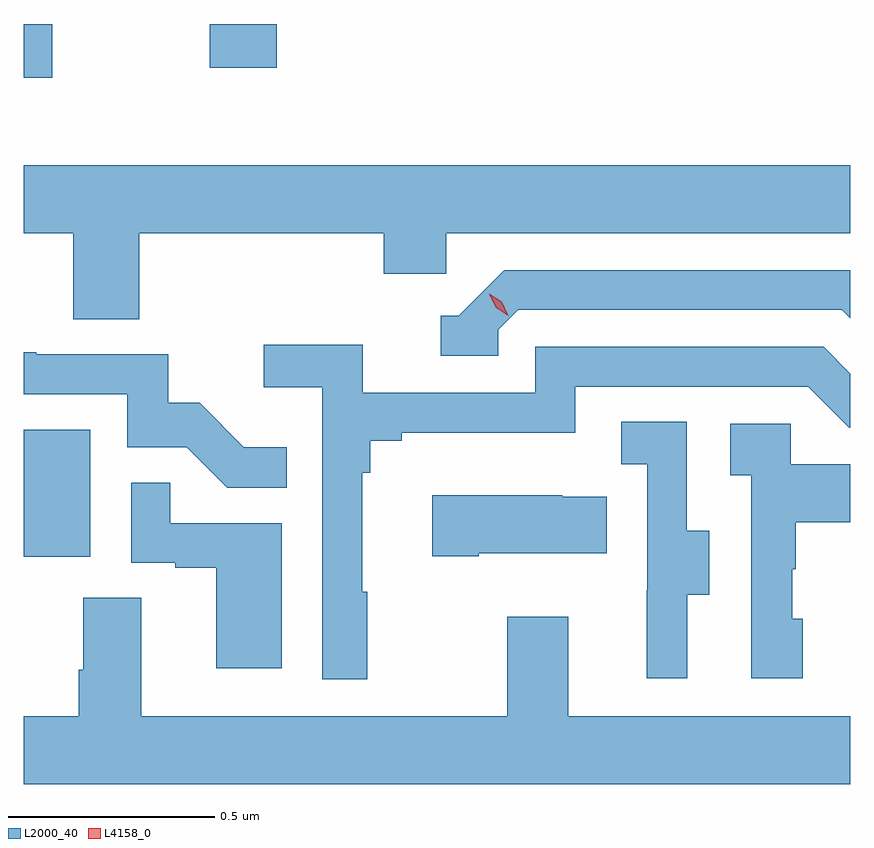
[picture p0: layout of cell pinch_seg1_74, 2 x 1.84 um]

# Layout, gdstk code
import gdstk
lib = gdstk.Library(unit=1e-6, precision=1e-09)
def R(c, l, rs):  # rectangles x0, y0, x1, y1
    for r in rs: c.add(gdstk.rectangle(r[:2], r[2:], *l))
def P(c, l, *ps):  # polygons
    for p in ps: c.add(gdstk.Polygon(p, *l))
L2000_40 = (2000, 40)
L4158_0 = (4158, 0)

pinch_seg1_74 = lib.new_cell('pinch_seg1_74')
R(pinch_seg1_74, L2000_40, [(1043.11,580.254,1043.272,580.561), (1043.11,581.412,1043.179,581.542), (1043.561,581.436,1043.722,581.542)])
P(pinch_seg1_74, L2000_40, [(1043.39,581.036),(1043.981,581.036),(1043.981,580.938),(1044.132,580.938),(1044.132,581.036),(1045.11,581.036),(1045.11,581.2),(1043.11,581.2),(1043.11,581.036),(1043.23,581.036),(1043.23,580.828),(1043.39,580.828)],
  [(1044.258,580.803),(1044.306,580.851),(1045.089,580.851),(1045.11,580.83),(1045.11,580.947),(1044.273,580.947),(1044.162,580.836),(1044.119,580.836),(1044.119,580.74),(1044.258,580.74)],
  [(1043.941,580.169),(1043.929,580.169),(1043.929,580.457),(1043.948,580.457),(1043.948,580.534),(1044.025,580.534),(1044.025,580.553),(1044.444,580.553),(1044.444,580.665),(1045.008,580.665),(1045.107,580.566),(1045.11,580.566),(1045.11,580.696),(1045.045,580.761),(1044.348,580.761),(1044.348,580.65),(1043.93,580.65),(1043.93,580.766),(1043.691,580.766),(1043.691,580.664),(1043.832,580.664),(1043.832,579.957),(1043.941,579.957)],
  [(1043.747,580.519),(1043.643,580.519),(1043.536,580.626),(1043.46,580.626),(1043.46,580.743),(1043.141,580.743),(1043.141,580.748),(1043.11,580.748),(1043.11,580.647),(1043.361,580.647),(1043.361,580.518),(1043.505,580.518),(1043.603,580.42),(1043.747,580.42)],
  [(1044.715,580.162),(1044.769,580.162),(1044.769,580.317),(1044.714,580.317),(1044.714,580.58),(1044.555,580.58),(1044.555,580.477),(1044.618,580.477),(1044.618,580.173),(1044.617,580.173),(1044.617,579.96),(1044.715,579.96)],
  [(1044.994,580.104),(1044.969,580.104),(1044.969,580.223),(1044.978,580.223),(1044.978,580.337),(1045.11,580.337),(1045.11,580.477),(1044.966,580.477),(1044.966,580.575),(1044.819,580.575),(1044.819,580.451),(1044.87,580.451),(1044.87,579.96),(1044.994,579.96)],
  [(1043.734,580.335),(1043.465,580.335),(1043.465,580.433),(1043.37,580.433),(1043.37,580.239),(1043.477,580.239),(1043.477,580.227),(1043.576,580.227),(1043.576,579.984),(1043.734,579.984)],
  [(1044.211,580.262),(1044.521,580.262),(1044.521,580.399),(1044.413,580.399),(1044.413,580.402),(1044.099,580.402),(1044.099,580.255),(1044.211,580.255)],
  [(1045.11,579.868),(1044.427,579.868),(1044.427,580.108),(1044.28,580.108),(1044.28,579.868),(1043.395,579.868),(1043.395,580.154),(1043.255,580.154),(1043.255,579.98),(1043.243,579.98),(1043.243,579.868),(1043.11,579.868),(1043.11,579.704),(1045.11,579.704)])
P(pinch_seg1_74, L4158_0, [(1044.282,580.837),(1044.252,580.857),(1044.236,580.89),(1044.236,580.89),(1044.236,580.89),(1044.267,580.87),(1044.282,580.837),(1044.282,580.837)])

lib.write_gds('pinch_seg1_74.gds')
